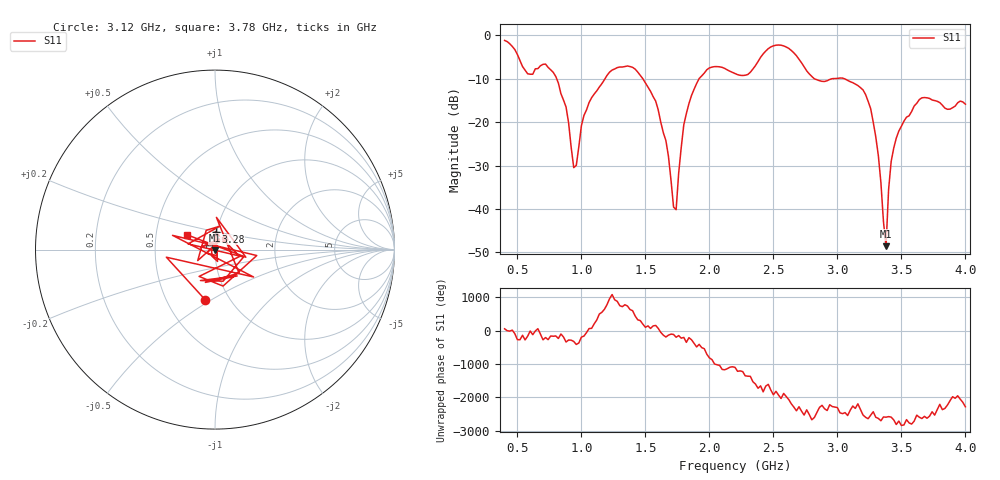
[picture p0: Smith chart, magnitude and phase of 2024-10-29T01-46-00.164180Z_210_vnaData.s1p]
!Created with skrf (http://scikit-rf.org).
# Hz S RI R 50.0
!freq ReS11 ImS11
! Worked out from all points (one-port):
!   181 points, 400 MHz to 4 GHz, reference 50 ohm
!   lowest |S11| = -48.6 dB at 3.38 GHz (marker M1), VSWR 1.01, Z = 50.1 - j0.362 ohm
!   |S11| at or under -10 dB: 806.6 MHz to 1.185 GHz (378.2 MHz wide, 38 % of centre); 1.48 GHz to 1.919 GHz (439.4 MHz wide, 25.9 % of centre); 3.054 GHz to end of sweep (the widest 3 of 4)
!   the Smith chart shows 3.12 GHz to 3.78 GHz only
!   S11 on the Smith chart (normalised r, x): 3.12 GHz: 0.77, -0.47; 3.28 GHz: 0.99, +0.20; 3.78 GHz: 0.73, +0.12
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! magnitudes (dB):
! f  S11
! 400 MHz  -1.2
! 580 MHz  -8.9
! 720 MHz  -6.6
! 860 MHz  -14.9
! 940 MHz  -30.5
! 1.06 GHz  -15.5
! 1.3 GHz  -7.3
! 1.58 GHz  -15.1
! 1.66 GHz  -24.2
! 1.72 GHz  -39.6
! 1.74 GHz  -40.2
! 1.76 GHz  -31.7
! 1.8 GHz  -20.6
! 1.92 GHz  -10.0
! 2.2 GHz  -8.8
! 2.5 GHz  -2.4
! 2.66 GHz  -4.1
! 2.82 GHz  -10.0
! 3.1 GHz  -10.7
! 3.12 GHz  -10.9
! 3.28 GHz  -20.0
! 3.32 GHz  -27.7
! 3.38 GHz  -48.6
! 3.4 GHz  -35.5
! 3.42 GHz  -29.1
! 3.56 GHz  -18.5
! 3.78 GHz  -15.2
! 4 GHz  -15.9
